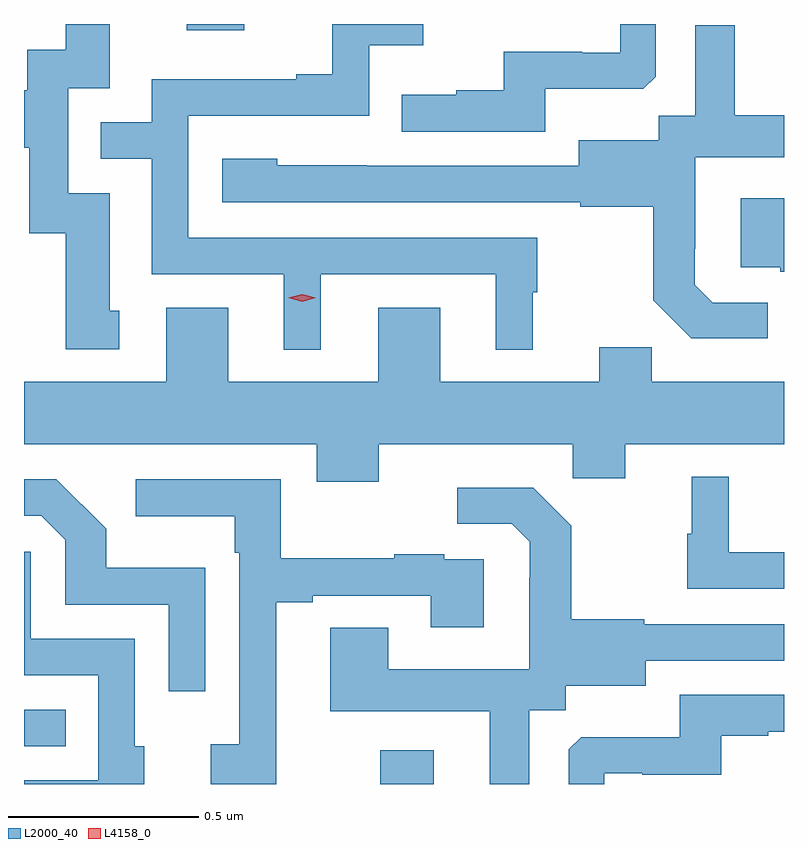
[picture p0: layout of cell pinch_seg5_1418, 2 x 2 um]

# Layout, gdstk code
import gdstk
lib = gdstk.Library(unit=1e-6, precision=1e-09)
def R(c, l, rs):  # rectangles x0, y0, x1, y1
    for r in rs: c.add(gdstk.rectangle(r[:2], r[2:], *l))
def P(c, l, *ps):  # polygons
    for p in ps: c.add(gdstk.Polygon(p, *l))
L2000_40 = (2000, 40)
L4158_0 = (4158, 0)

pinch_seg5_1418 = lib.new_cell('pinch_seg5_1418')
R(pinch_seg5_1418, L2000_40, [(239.183,899.822,239.323,899.911), (238.245,899.922,238.355,900.018), (238.673,901.806,238.825,901.822)])
P(pinch_seg5_1418, L2000_40, [(239.026,901.164),(239.486,901.164),(239.486,900.965),(239.584,900.965),(239.584,901.116),(239.596,901.116),(239.596,901.26),(238.677,901.26),(238.677,901.581),(239.154,901.581),(239.154,901.766),(239.296,901.766),(239.296,901.822),(239.056,901.822),(239.056,901.69),(238.961,901.69),(238.961,901.677),(238.581,901.677),(238.581,901.563),(238.447,901.563),(238.447,901.467),(238.581,901.467),(238.581,901.164),(238.928,901.164),(238.928,900.965),(239.026,900.965)],
  [(239.617,901.652),(239.875,901.652),(239.907,901.683),(239.907,901.822),(239.814,901.822),(239.814,901.746),(239.714,901.746),(239.714,901.749),(239.507,901.749),(239.507,901.648),(239.383,901.648),(239.383,901.636),(239.239,901.636),(239.239,901.539),(239.617,901.539)],
  [(238.495,901.068),(238.471,901.068),(238.471,901.377),(238.362,901.377),(238.362,901.653),(238.471,901.653),(238.471,901.822),(238.355,901.822),(238.355,901.754),(238.254,901.754),(238.254,901.648),(238.245,901.648),(238.245,901.496),(238.259,901.496),(238.259,901.272),(238.355,901.272),(238.355,900.966),(238.495,900.966)],
  [(240.202,901.089),(240.057,901.089),(240.01,901.136),(240.01,901.231),(240.012,901.231),(240.012,901.472),(240.245,901.472),(240.245,901.582),(240.115,901.582),(240.115,901.819),(240.011,901.819),(240.011,901.58),(239.916,901.58),(239.916,901.516),(239.705,901.516),(239.705,901.449),(239.147,901.449),(239.147,901.45),(238.911,901.45),(238.911,901.468),(238.767,901.468),(238.767,901.353),(239.709,901.353),(239.709,901.341),(239.901,901.341),(239.901,901.095),(240.001,900.995),(240.202,900.995)],
  [(240.245,901.363),(240.131,901.363),(240.131,901.182),(240.235,901.182),(240.235,901.17),(240.245,901.17)],
  [(239.179,900.716),(239.689,900.716),(239.689,900.626),(239.827,900.626),(239.827,900.716),(240.245,900.716),(240.245,900.88),(239.897,900.88),(239.897,900.971),(239.759,900.971),(239.759,900.88),(239.341,900.88),(239.341,901.075),(239.177,901.075),(239.177,900.88),(238.783,900.88),(238.783,901.075),(238.619,901.075),(238.619,900.88),(238.245,900.88),(238.245,900.716),(239.015,900.716),(239.015,900.617),(239.179,900.617)],
  [(240.245,900.432),(240.1,900.432),(240.1,900.631),(240.002,900.631),(240.002,900.48),(239.991,900.48),(239.991,900.336),(240.245,900.336)],
  [(238.909,900.3),(239.005,900.3),(239.005,900.318),(239.315,900.318),(239.315,900.234),(239.455,900.234),(239.455,900.414),(239.351,900.414),(239.351,900.427),(239.219,900.427),(239.219,900.416),(238.921,900.416),(238.921,900.624),(238.539,900.624),(238.539,900.527),(238.8,900.527),(238.8,900.431),(238.812,900.431),(238.812,899.926),(238.737,899.926),(238.737,899.822),(238.909,899.822)],
  [(238.722,900.391),(238.461,900.391),(238.461,900.494),(238.33,900.624),(238.245,900.624),(238.245,900.528),(238.29,900.528),(238.353,900.465),(238.353,900.294),(238.626,900.294),(238.626,900.066),(238.722,900.066)],
  [(239.575,900.016),(239.67,900.016),(239.67,900.08),(239.881,900.08),(239.881,900.147),(240.245,900.147),(240.245,900.243),(239.877,900.243),(239.877,900.256),(239.685,900.256),(239.685,900.501),(239.585,900.601),(239.385,900.601),(239.385,900.507),(239.529,900.507),(239.576,900.46),(239.576,900.365),(239.574,900.365),(239.574,900.124),(239.203,900.124),(239.203,900.233),(239.051,900.233),(239.051,900.014),(239.471,900.014),(239.471,899.822),(239.575,899.822)],
  [(238.561,899.922),(238.536,899.922),(238.536,900.204),(238.263,900.204),(238.263,900.433),(238.245,900.433),(238.245,900.108),(238.44,900.108),(238.44,899.832),(238.245,899.832),(238.245,899.822),(238.561,899.822)],
  [(239.772,899.85),(239.872,899.85),(239.872,899.847),(240.08,899.847),(240.08,899.949),(240.203,899.949),(240.203,899.96),(240.245,899.96),(240.245,900.057),(239.97,900.057),(239.97,899.945),(239.711,899.945),(239.679,899.913),(239.679,899.822),(239.772,899.822)])
P(pinch_seg5_1418, L4158_0, [(238.977,901.091),(238.941,901.101),(238.941,901.101),(238.941,901.102),(238.977,901.111),(239.013,901.102),(239.013,901.101),(239.013,901.101)])

lib.write_gds('pinch_seg5_1418.gds')
